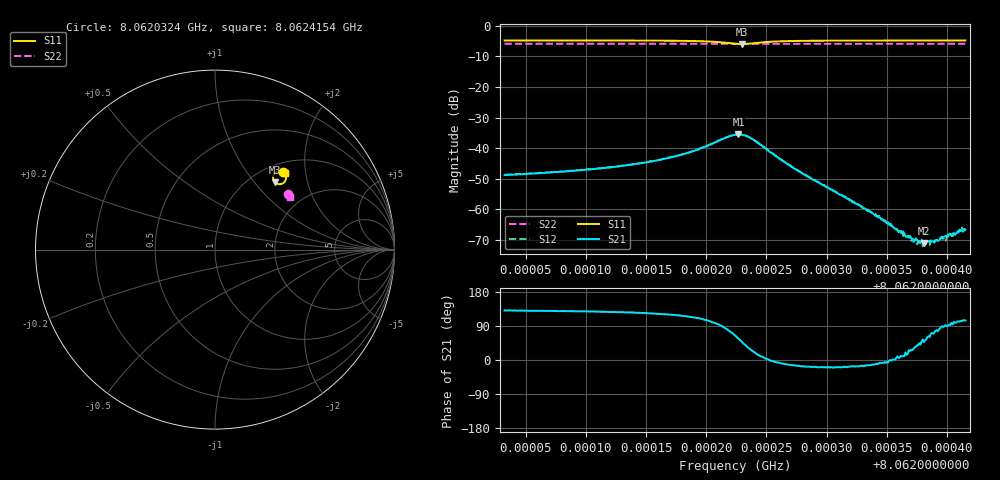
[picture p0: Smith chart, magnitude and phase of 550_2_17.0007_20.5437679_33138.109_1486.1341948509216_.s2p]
#  HZ  S  RI  R  50.00
! Rohde & Schwarz Vector Network Analyzer
! Rohde-Schwarz,ZNB20-2Port,1311601062101988,3.16
! Created: UTC 3/20/2024, 11:16:46 PM
! freq[Hz]  re:S11  im:S11  re:S21  im:S21  re:S12  im:S12  re:S22  im:S22
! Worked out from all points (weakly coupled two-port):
!   401 points, 8.0620324 GHz to 8.0624154 GHz, reference 50 ohm
!   highest |S21| = -35.50 dB at 8.0622268 GHz (marker M1); lowest = -71.1 dB at 8.0623809 GHz (marker M2)
!   lowest |S11| = -6.0 dB at 8.0622296 GHz (marker M3), VSWR 3.02, Z = 64.2 + j64.2 ohm
!   |S11| at or under -10 dB: nowhere
!   |S22| runs from -5.9 to -5.9 dB; largest |S21 - S12| = 0.0011
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8.06203235e9  0.3791 0.4336  -0.00238 0.00277  -0.00225 0.00294  0.404 0.3095
8.06209651e9  0.3849 0.4278  -0.00274 0.00344  -0.00254 0.00366  0.4062 0.3062
8.06216068e9  0.3925 0.4163  -0.0034 0.00545  -0.00305 0.00572  0.4086 0.3025
8.06219132e9  0.3959 0.4004  -0.00341 0.00865  -0.00288 0.00889  0.4097 0.3003
8.06222388e9  0.3542 0.3647  0.00704 0.0149  0.00801 0.0148  0.4083 0.2979
8.06222675e9  0.344 0.3679  0.00922 0.014  0.0101 0.0135  0.408 0.2979
8.06222963e9  0.3348 0.3743  0.0111 0.0123  0.0119 0.0117  0.4079 0.2982
8.0622392e9  0.3241 0.4052  0.0127 0.00521  0.0133 0.00442  0.408 0.2994
8.0622641e9  0.3522 0.4356  0.00602 -0.00108  0.00602 -0.00143  0.4106 0.2991
8.06228804e9  0.3673 0.4357  0.00297 -0.000997  0.00299 -0.00118  0.412 0.2976
8.06233401e9  0.3792 0.4314  0.000918 -0.000222  0.000962 -0.000274  0.414 0.2952
8.06235221e9  0.3821 0.4297  0.000566 -9.87e-06  0.000559 -8.32e-05  0.4148 0.2942
8.0623704e9  0.3843 0.4282  0.000298 0.000151  0.000278 0.000129  0.4155 0.2931
8.06237423e9  0.3847 0.4281  0.000275 0.000195  0.000233 0.000174  0.4155 0.2929
8.06238093e9  0.3855 0.4274  0.00019 0.000205  0.000219 0.000226  0.4158 0.2926
8.06239147e9  0.3866 0.4267  6.16e-05 0.000313  9.81e-05 0.000302  0.4163 0.2921
8.0623953e9  0.387 0.4264  1.29e-05 0.000351  5.43e-05 0.000344  0.4163 0.2918
8.06239913e9  0.3873 0.426  -9.37e-06 0.000369  7.5e-06 0.00031  0.4165 0.2916
8.062402e9  0.3875 0.4259  -2.23e-05 0.0004  1.53e-05 0.000409  0.4164 0.2915
8.06240583e9  0.388 0.4257  -7.61e-05 0.000406  -3.04e-05 0.000399  0.4167 0.2912
8.06241062e9  0.3883 0.4254  -8.79e-05 0.000427  -6.18e-05 0.000466  0.4168 0.291
8.06241541e9  0.3888 0.4249  -0.000114 0.000452  -8.73e-05 0.000441  0.4171 0.2908
